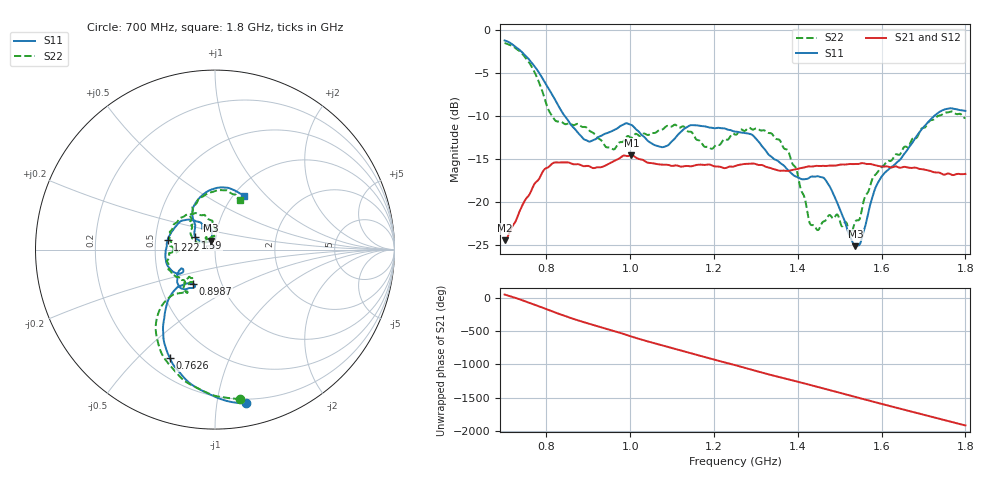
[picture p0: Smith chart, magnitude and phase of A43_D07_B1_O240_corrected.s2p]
! Created with skrf 1.9.0 (http://scikit-rf.org).
# Hz S RI R 50.0
!freq ReS11 ImS11 ReS21 ImS21 ReS12 ImS12 ReS22 ImS22
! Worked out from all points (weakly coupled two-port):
!   1601 points, 700 MHz to 1.8 GHz, reference 50 ohm
!   highest |S21| = -14.55 dB at 1.002 GHz (marker M1); lowest = -24.5 dB at 700 MHz (marker M2)
!   lowest |S11| = -25.1 dB at 1.537 GHz (marker M3), VSWR 1.12, Z = 47.4 + j4.72 ohm
!   |S11| at or under -10 dB: 844 MHz to 1.725 GHz (881 MHz wide, 68.6 % of centre)
!   |S22| runs from -23.8 to -1.5 dB; largest |S21 - S12| = 0.0035
!   S11 on the Smith chart (normalised r, x): 700 MHz: 0.17, -1.21; 762.6 MHz: 0.30, -0.63; 898.7 MHz: 0.73, -0.29; 1.222 GHz: 0.58, +0.07; 1.59 GHz: 0.80, +0.11; 1.8 GHz: 1.12, +0.76
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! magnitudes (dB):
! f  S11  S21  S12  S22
! 700 MHz  -1.2  -24.5  -24.2  -1.5
! 762.6 MHz  -3.7  -18.8  -18.7  -4.1
! 818.2 MHz  -7.9  -15.4  -15.5  -10.3
! 883.6 MHz  -12.4  -15.7  -15.6  -11.2
! 898.7 MHz  -12.9  -15.8  -15.8  -11.5
! 957.8 MHz  -11.7  -15.3  -15.3  -13.8
! 1.002 GHz  -11.0  -14.6  -14.7  -12.5
! 1.067 GHz  -13.5  -15.6  -15.6  -11.7
! 1.143 GHz  -11.1  -15.8  -15.8  -11.8
! 1.192 GHz  -11.3  -15.7  -15.7  -13.7
! 1.222 GHz  -11.4  -16.0  -16.0  -12.8
! 1.25 GHz  -11.8  -15.8  -15.7  -12.1
! 1.357 GHz  -15.4  -16.4  -16.3  -12.8
! 1.396 GHz  -17.0  -16.2  -16.2  -16.1
! 1.434 GHz  -17.0  -15.9  -15.8  -22.7
! 1.471 GHz  -17.8  -15.8  -15.8  -21.7
! 1.526 GHz  -24.2  -15.6  -15.6  -23.8
! 1.537 GHz  -25.1  -15.6  -15.6  -22.3
! 1.59 GHz  -17.8  -15.8  -15.8  -16.5
! 1.617 GHz  -16.2  -15.9  -15.9  -15.2
! 1.733 GHz  -9.7  -16.6  -16.6  -10.0
! 1.8 GHz  -9.4  -16.7  -16.7  -10.2
